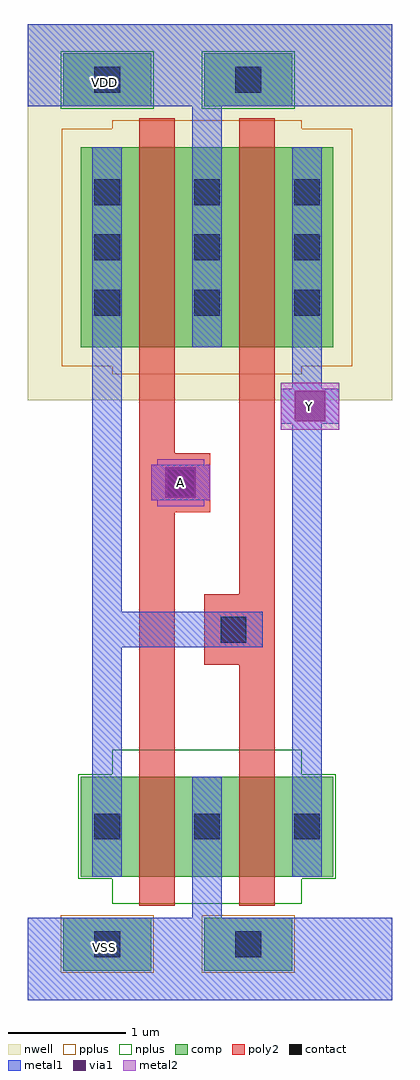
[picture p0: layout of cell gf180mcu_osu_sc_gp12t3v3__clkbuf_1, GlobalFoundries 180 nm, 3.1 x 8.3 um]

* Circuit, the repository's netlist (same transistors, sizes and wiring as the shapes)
* Copyright 2022 Google LLC
*
* Licensed under the Apache License, Version 2.0 (the "License");
* you may not use this file except in compliance with the License.
* You may obtain a copy of the License at
*
*      http://www.apache.org/licenses/LICENSE-2.0
*
* Unless required by applicable law or agreed to in writing, software
* distributed under the License is distributed on an "AS IS" BASIS,
* WITHOUT WARRANTIES OR CONDITIONS OF ANY KIND, either express or implied.
* See the License for the specific language governing permissions and
* limitations under the License.

.option scale=0.05u

.subckt gf180mcu_osu_sc_gp12t3v3__clkbuf_1 A Y
X0 Y a_9_19 VDD VDD pmos_3p3 w=34 l=6
X1 VDD A a_9_19 VDD pmos_3p3 w=34 l=6
X2 VSS A a_9_19 VSS nmos_3p3 w=17 l=6
X3 Y a_9_19 VSS VSS nmos_3p3 w=17 l=6
.ends

** hspice subcircuit dictionary

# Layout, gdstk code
import gdstk
lib = gdstk.Library(unit=1e-6, precision=1e-09)
def R(c, l, rs):  # rectangles x0, y0, x1, y1
    for r in rs: c.add(gdstk.rectangle(r[:2], r[2:], *l))
def A(c, l, x, y, w, h, nx, ny, dx, dy):  # array of equal rectangles
    R(c, l, [(x+i*dx, y+j*dy, x+i*dx+w, y+j*dy+h) for i in range(nx) for j in range(ny)])
nwell = (21, 0)
comp = (22, 0)
poly2 = (30, 0)
pplus = (31, 0)
nplus = (32, 0)
contact = (33, 0)
metal1 = (34, 0)
via1 = (35, 0)
metal2 = (36, 0)

gf180mcu_osu_sc_gp12t3v3 = lib.new_cell('gf180mcu_osu_sc_gp12t3v3__clkbuf_1')
R(gf180mcu_osu_sc_gp12t3v3, nwell, [(0,5.1,3.1,8.3)])
R(gf180mcu_osu_sc_gp12t3v3, comp, [(0.3,0.25,1.05,0.7), (1.5,0.25,2.25,0.7), (0.45,1.05,2.6,1.9), (0.45,5.55,2.6,7.25), (0.3,7.6,1.05,8.05), (1.5,7.6,2.25,8.05)])
R(gf180mcu_osu_sc_gp12t3v3, poly2, [(0.95,0.8,1.25,4.15), (1.8,0.8,2.1,2.85), (1.5,2.85,2.1,3.45), (1.8,3.45,2.1,7.5), (0.95,4.15,1.55,4.65), (0.95,4.65,1.25,7.5)])
R(gf180mcu_osu_sc_gp12t3v3, pplus, [(0.28,0.23,1.07,0.72), (1.48,0.23,2.27,0.72), (0.72,5.32,2.33,5.39), (0.29,5.39,2.76,7.41), (0.72,7.41,2.33,7.48)])
R(gf180mcu_osu_sc_gp12t3v3, nplus, [(0.72,0.82,2.33,1.03), (0.43,1.03,2.62,1.92), (0.72,1.92,2.33,2.13), (0.28,7.58,1.07,8.07), (1.48,7.58,2.27,8.07)])
A(gf180mcu_osu_sc_gp12t3v3, contact, 0.565, 1.365, 0.22, 0.22, 3, 2, 0.85, 4.455)
A(gf180mcu_osu_sc_gp12t3v3, contact, 0.565, 6.29, 0.22, 0.22, 3, 2, 0.85, 0.47)
R(gf180mcu_osu_sc_gp12t3v3, contact, [(0.565,0.365,0.785,0.585), (1.765,0.365,1.985,0.585), (1.64,3.04,1.86,3.26), (1.19,4.29,1.41,4.51), (0.565,7.715,0.785,7.935), (1.765,7.715,1.985,7.935)])
R(gf180mcu_osu_sc_gp12t3v3, metal1, [(0,0,3.1,0.7), (1.4,0.7,1.65,1.9), (0.55,1.05,0.8,3), (2.25,1.05,2.5,4.9), (0.55,3,2,3.3), (0.55,3.3,0.8,7.25), (1.05,4.25,1.55,4.55), (2.15,4.9,2.65,5.2), (2.25,5.2,2.5,7.25), (1.4,5.55,1.65,7.6), (0,7.6,3.1,8.3)])
R(gf180mcu_osu_sc_gp12t3v3, via1, [(1.17,4.27,1.43,4.53), (2.27,4.92,2.53,5.18)])
R(gf180mcu_osu_sc_gp12t3v3, metal2, [(1.1,4.2,1.5,4.25), (1.05,4.25,1.55,4.55), (1.1,4.55,1.5,4.6), (2.15,4.85,2.65,5.25)])
gf180mcu_osu_sc_gp12t3v3.add(gdstk.Label('A', (1.3,4.4), layer=36, texttype=10))
gf180mcu_osu_sc_gp12t3v3.add(gdstk.Label('Y', (2.4,5.05), layer=36, texttype=10))
gf180mcu_osu_sc_gp12t3v3.add(gdstk.Label('VDD', (0.65,7.8), layer=34, texttype=10))
gf180mcu_osu_sc_gp12t3v3.add(gdstk.Label('VSS', (0.65,0.45), layer=34, texttype=10))

lib.write_gds('gf180mcu_osu_sc_gp12t3v3__clkbuf_1.gds')
